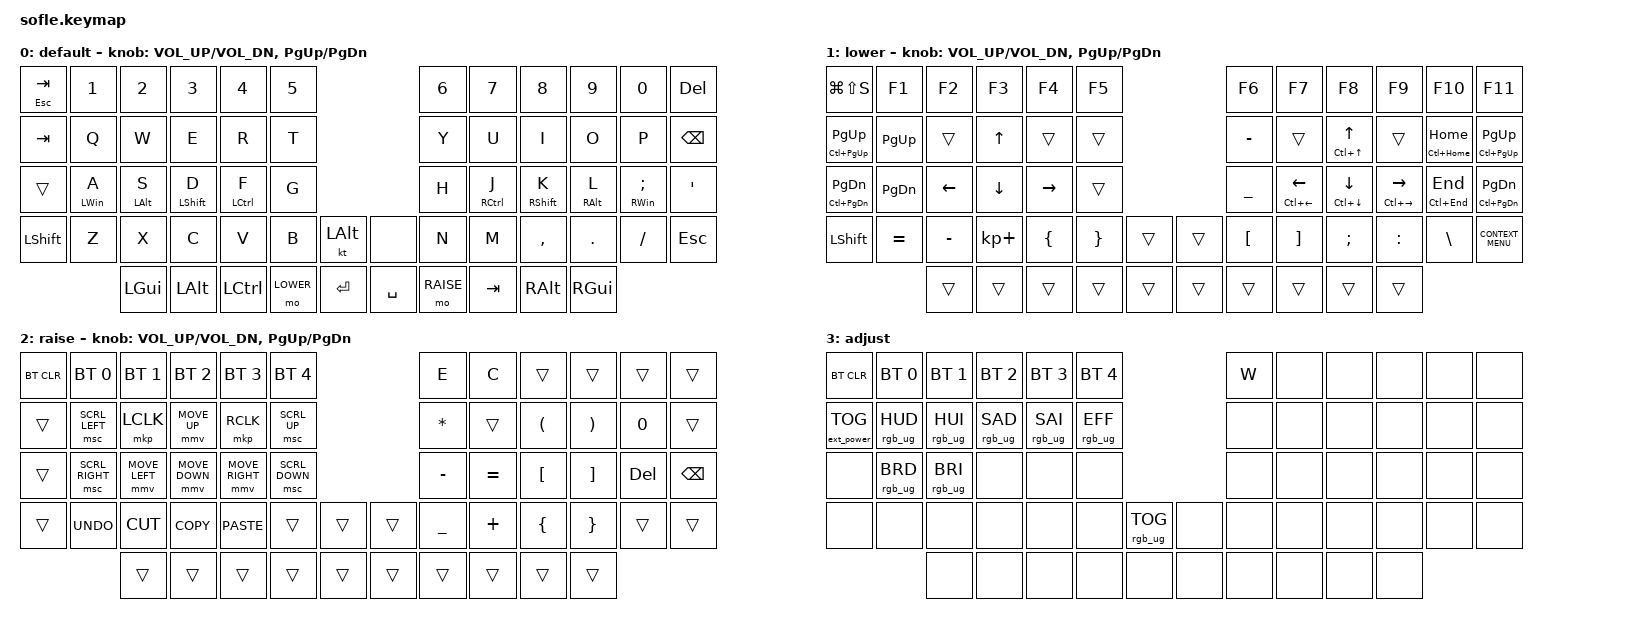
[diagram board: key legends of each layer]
/*
 * Copyright (c) 2020 The ZMK Contributors
 *
 * SPDX-License-Identifier: MIT
 */

#include <behaviors.dtsi>
#include <dt-bindings/zmk/bt.h>
#include <dt-bindings/zmk/ext_power.h>
#include <dt-bindings/zmk/keys.h>
#include <dt-bindings/zmk/pointing.h>
#include <dt-bindings/zmk/rgb.h>

#define BASE 0
#define LOWER 1
#define RAISE 2
#define ADJUST 3

/ {
    // Activate ADJUST layer by pressing raise and lower

    conditional_layers {
        compatible = "zmk,conditional-layers";

        adjust_layer {
            if-layers = <LOWER RAISE>;
            then-layer = <ADJUST>;
        };
    };

    behaviors {
        hm: hm {
            compatible = "zmk,behavior-hold-tap";
            label = "HM";
            bindings = <&kp>, <&kp>;

            #binding-cells = <2>;
            tapping-term-ms = <300>;
            quick-tap-ms = <300>;
            require-prior-idle-ms = <300>;
            flavor = "tap-preferred";
        };

        td_tab_esc: td_tab_esc {
            compatible = "zmk,behavior-tap-dance";
            label = "TD_TAB_ESC";
            #binding-cells = <0>;
            bindings = <&kp TAB>, <&kp ESCAPE>;
        };
    };

    macros {
        mc_screenshot: mc_screenshot {
            compatible = "zmk,behavior-macro";
            #binding-cells = <0>;
            bindings = <&kp LG(LS(S))>;
            label = "MC_SCREENSHOT";
        };
    };

    keymap {
        compatible = "zmk,keymap";

        default_layer {
            label = "default";

            // ------------------------------------------------------------------------------------------------------------
            // |   `   |  1  |  2  |  3   |  4   |  5   |                   |  6   |  7    |  8    |  9   |   0   |       |
            // |  ESC  |  Q  |  W  |  E   |  R   |  T   |                   |  Y   |  U    |  I    |  O   |   P   | BKSPC |
            // |  TAB  |  A  |  S  |  D   |  F   |  G   |                   |  H   |  J    |  K    |  L   |   ;   |   '   |
            // | SHIFT |  Z  |  X  |  C   |  V   |  B   |  MUTE  |  |       |  N   |  M    |  ,    |  .   |   /   | SHIFT |
            //               | GUI | ALT  | CTRL | LOWER|  ENTER |  | SPACE | RAISE| CTRL  | ALT   | GUI  |

            bindings = <
&mt ESCAPE TAB  &kp N1          &kp N2          &kp N3            &kp N4              &kp N5                                &kp N6     &kp N7               &kp N8             &kp N9           &kp N0                   &kp DELETE
&kp TAB         &kp Q           &kp W           &kp E             &kp R               &kp T                                 &kp Y      &kp U                &kp I              &kp O            &kp P                    &kp BSPC
&trans          &hm LEFT_WIN A  &hm LEFT_ALT S  &hm LEFT_SHIFT D  &hm LEFT_CONTROL F  &kp G                                 &kp H      &hm RIGHT_CONTROL J  &hm RIGHT_SHIFT K  &hm RIGHT_ALT L  &hm RIGHT_WIN SEMICOLON  &kp SQT
&kp LSHFT       &kp Z           &kp X           &kp C             &kp V               &kp B      &kt LEFT_ALT    &none      &kp N      &kp M                &kp COMMA          &kp DOT          &kp FSLH                 &kp ESCAPE
                                &kp LGUI        &kp LALT          &kp LCTRL           &mo LOWER  &kp RET         &kp SPACE  &mo RAISE  &kp TAB              &kp RALT           &kp RGUI
            >;

            sensor-bindings = <&inc_dec_kp C_VOL_UP C_VOL_DN &inc_dec_kp PG_UP PG_DN>;
        };

        lower_layer {
            label = "lower";

            // TODO: Some binds are waiting for shifted keycode support.
            // ------------------------------------------------------------------------------------------------------------
            // |       |  F1 |  F2 |  F3  |  F4  |  F5  |                   |  F6  |  F7   |  F8   |  F9  |  F10  |  F11  |
            // |   `   |  1  |  2  |  3   |  4   |  5   |                   |  6   |  7    |  8    |  9   |   0   |  F12  |
            // |       |  !  |  @  |  #   |  $   |  %   |                   |  ^   |  &    |  *    |  (   |   )   |   |   |
            // |       |  =  |  -  |  +   |  {   |  }   |        |  |       |  [   |  ]    |  ;    |  :   |   \   |       |
            //               |     |      |      |      |        |  |       |      |       |       |      |

            bindings = <
&kp LG(LS(S))                &kp F1         &kp F2     &kp F3          &kp F4     &kp F5                      &kp F6     &kp F7             &kp F8                     &kp F9               &kp F10            &kp F11
&mt LC(PAGE_UP) PAGE_UP      &kp PG_UP      &trans     &kp UP_ARROW    &trans     &trans                      &kp MINUS  &trans             &mt LC(UP_ARROW) UP_ARROW  &trans               &mt LC(HOME) HOME  &mt LC(PAGE_UP) PAGE_UP
&mt LC(PAGE_DOWN) PAGE_DOWN  &kp PAGE_DOWN  &kp LEFT   &kp DOWN_ARROW  &kp RIGHT  &trans                      &kp UNDER  &mt LC(LEFT) LEFT  &mt LC(DOWN) DOWN_ARROW    &mt LC(RIGHT) RIGHT  &mt LC(END) END    &mt LC(PAGE_DOWN) PAGE_DOWN
&kp LEFT_SHIFT               &kp EQUAL      &kp MINUS  &kp KP_PLUS     &kp LBRC   &kp RBRC  &trans    &trans  &kp LBKT   &kp RBKT           &kp SEMI                   &kp COLON            &kp BSLH           &kp K_CONTEXT_MENU
                                            &trans     &trans          &trans     &trans    &trans    &trans  &trans     &trans             &trans                     &trans
            >;

            sensor-bindings = <&inc_dec_kp C_VOL_UP C_VOL_DN &inc_dec_kp PG_UP PG_DN>;
        };

        raise_layer {
            label = "raise";

            // ------------------------------------------------------------------------------------------------------------
            // | BTCLR | BT1  | BT2  |  BT3  |  BT4  |  BT5 |                |      |      |       |      |       |       |
            // |       | INS  | PSCR | GUI   |       |      |                | PGUP |      |   ^   |      |       |       |
            // |       | ALT  | CTRL | SHIFT |       | CAPS |                | PGDN |   <- |   v   |  ->  |  DEL  | BKSPC |
            // |       | UNDO | CUT  | COPY  | PASTE |      |      |  |      |      |      |       |      |       |       |
            //                |      |       |       |      |      |  |      |      |      |       |      |

            bindings = <
&bt BT_CLR  &bt BT_SEL 0     &bt BT_SEL 1    &bt BT_SEL 2    &bt BT_SEL 3     &bt BT_SEL 4                      &kp E           &kp C      &trans                &trans                 &trans   &trans
&trans      &msc SCRL_LEFT   &mkp LCLK       &mmv MOVE_UP    &mkp RCLK        &msc SCRL_UP                      &kp ASTRK       &trans     &kp LEFT_PARENTHESIS  &kp RIGHT_PARENTHESIS  &kp N0   &trans
&trans      &msc SCRL_RIGHT  &mmv MOVE_LEFT  &mmv MOVE_DOWN  &mmv MOVE_RIGHT  &msc SCRL_DOWN                    &kp MINUS       &kp EQUAL  &kp LEFT_BRACKET      &kp RIGHT_BRACKET      &kp DEL  &kp BSPC
&trans      &kp K_UNDO       &kp K_CUT       &kp K_COPY      &kp K_PASTE      &trans          &trans    &trans  &kp UNDERSCORE  &kp PLUS   &kp LEFT_BRACE        &kp RIGHT_BRACE        &trans   &trans
                             &trans          &trans          &trans           &trans          &trans    &trans  &trans          &trans     &trans                &trans
            >;

            sensor-bindings = <&inc_dec_kp C_VOL_UP C_VOL_DN &inc_dec_kp PG_UP PG_DN>;
        };

        adjust_layer {
            // ----------------------------------------------------------------------------------------------------------------------------
            // | BTCLR  |  BT1    |  BT2    |   BT3   |   BT4   |   BT5   |                  |      |      |       |      |       |       |
            // | EXTPWR | RGB_HUD | RGB_HUI | RGB_SAD | RGB_SAI | RGB_EFF |                  |      |      |       |      |       |       |
            // |        | RGB_BRD | RGB_BRI |         |         |         |                  |      |      |       |      |       |       |
            // |        |         |         |         |         |         | RGB_TOG | |      |      |      |       |      |       |       |
            //                    |         |         |         |         |         | |      |      |      |       |      |

            label = "adjust";
            bindings = <
&bt BT_CLR         &bt BT_SEL 0     &bt BT_SEL 1     &bt BT_SEL 2     &bt BT_SEL 3     &bt BT_SEL 4                               &kp W  &none  &none  &none  &none  &none
&ext_power EP_TOG  &rgb_ug RGB_HUD  &rgb_ug RGB_HUI  &rgb_ug RGB_SAD  &rgb_ug RGB_SAI  &rgb_ug RGB_EFF                            &none  &none  &none  &none  &none  &none
&none              &rgb_ug RGB_BRD  &rgb_ug RGB_BRI  &none            &none            &none                                      &none  &none  &none  &none  &none  &none
&none              &none            &none            &none            &none            &none            &rgb_ug RGB_TOG    &none  &none  &none  &none  &none  &none  &none
                                    &none            &none            &none            &none            &none              &none  &none  &none  &none  &none
            >;
        };
    };
};
